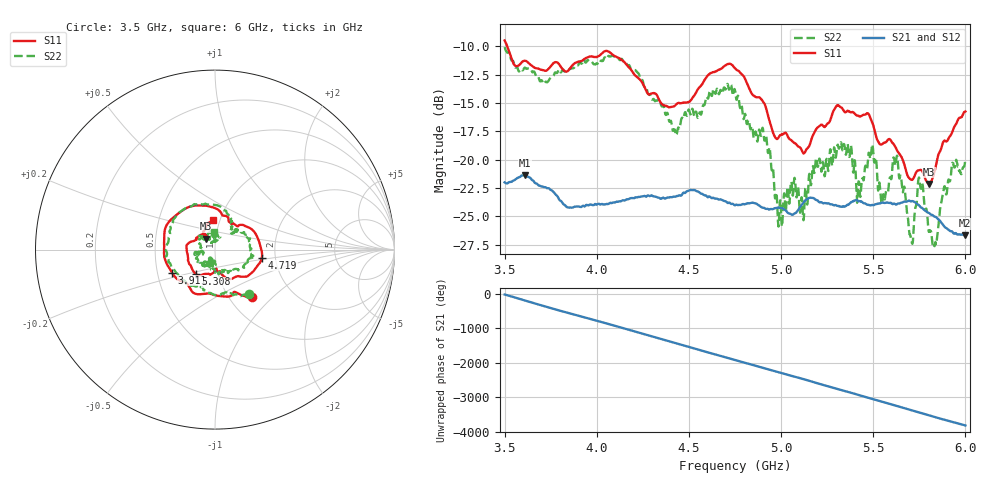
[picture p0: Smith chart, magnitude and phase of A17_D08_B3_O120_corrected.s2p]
! Created with skrf 1.9.0 (http://scikit-rf.org).
# Hz S RI R 50.0
!freq ReS11 ImS11 ReS21 ImS21 ReS12 ImS12 ReS22 ImS22
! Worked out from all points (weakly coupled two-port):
!   1601 points, 3.5 GHz to 6 GHz, reference 50 ohm
!   highest |S21| = -21.35 dB at 3.609 GHz (marker M1); lowest = -26.7 dB at 5.995 GHz (marker M2)
!   lowest |S11| = -22.1 dB at 5.803 GHz (marker M3), VSWR 1.17, Z = 45 + j5.54 ohm
!   |S11| at or under -10 dB: 3.515 GHz to end of sweep
!   |S22| runs from -27.6 to -10.1 dB; largest |S21 - S12| = 0.0011
!   S11 on the Smith chart (normalised r, x): 3.5 GHz: 1.26, -0.76; 3.911 GHz: 0.60, -0.17; 4.719 GHz: 1.70, -0.16; 5.308 GHz: 0.78, -0.22; 6 GHz: 0.93, +0.31
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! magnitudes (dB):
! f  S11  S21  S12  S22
! 3.5 GHz  -9.5  -22.0  -22.0  -10.1
! 3.609 GHz  -11.3  -21.3  -21.4  -11.9
! 3.911 GHz  -11.3  -24.2  -24.1  -11.4
! 3.917 GHz  -11.3  -24.2  -24.1  -11.5
! 4.334 GHz  -14.6  -23.3  -23.3  -14.9
! 4.425 GHz  -15.2  -23.3  -23.2  -17.5
! 4.719 GHz  -11.5  -23.8  -23.8  -13.8
! 4.75 GHz  -11.9  -24.0  -24.0  -13.9
! 4.909 GHz  -15.0  -24.3  -24.2  -18.3
! 4.995 GHz  -17.8  -24.2  -24.2  -23.6
! 5.167 GHz  -18.1  -23.4  -23.3  -21.4
! 5.308 GHz  -15.2  -24.1  -24.0  -18.7
! 5.42 GHz  -16.1  -23.6  -23.7  -21.9
! 5.487 GHz  -16.5  -24.0  -24.0  -19.6
! 5.584 GHz  -18.2  -23.8  -23.8  -22.2
! 5.623 GHz  -19.0  -24.0  -24.0  -20.2
! 5.706 GHz  -21.8  -23.7  -23.6  -27.0
! 5.756 GHz  -20.9  -24.2  -24.1  -22.5
! 5.803 GHz  -22.1  -24.7  -24.7  -26.3
! 5.834 GHz  -20.9  -25.0  -25.0  -27.5
! 5.995 GHz  -15.8  -26.7  -26.6  -20.5
! 6 GHz  -15.7  -26.7  -26.6  -20.0
